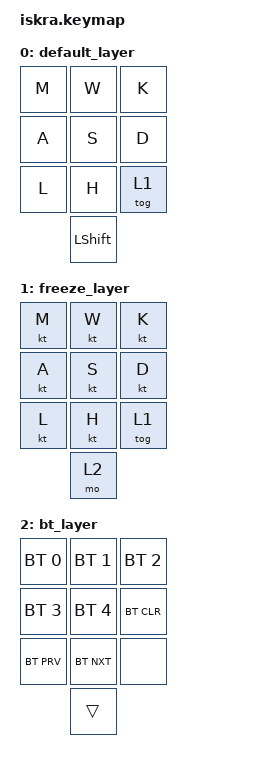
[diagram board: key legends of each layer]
#include <behaviors.dtsi>
#include <dt-bindings/zmk/keys.h>
#include <dt-bindings/zmk/bt.h>

/ {
    keymap {
        compatible = "zmk,keymap";

        default_layer {
            bindings = <
                &kp M  &kp W  &kp K
                &kp A  &kp S  &kp D
                &kp L  &kp H  &tog 1
                       &kp LSHIFT
            >;
        };

        freeze_layer {
            bindings = <
                &kt M  &kt W  &kt K
                &kt A  &kt S  &kt D
                &kt L  &kt H  &tog 1
                       &mo 2
            >;
        };

        bt_layer {
            bindings = <
                &bt BT_SEL 0  &bt BT_SEL 1  &bt BT_SEL 2
                &bt BT_SEL 3  &bt BT_SEL 4  &bt BT_CLR
                &bt BT_PRV    &bt BT_NXT    &none
                              &trans
            >;
        };
    };
};
